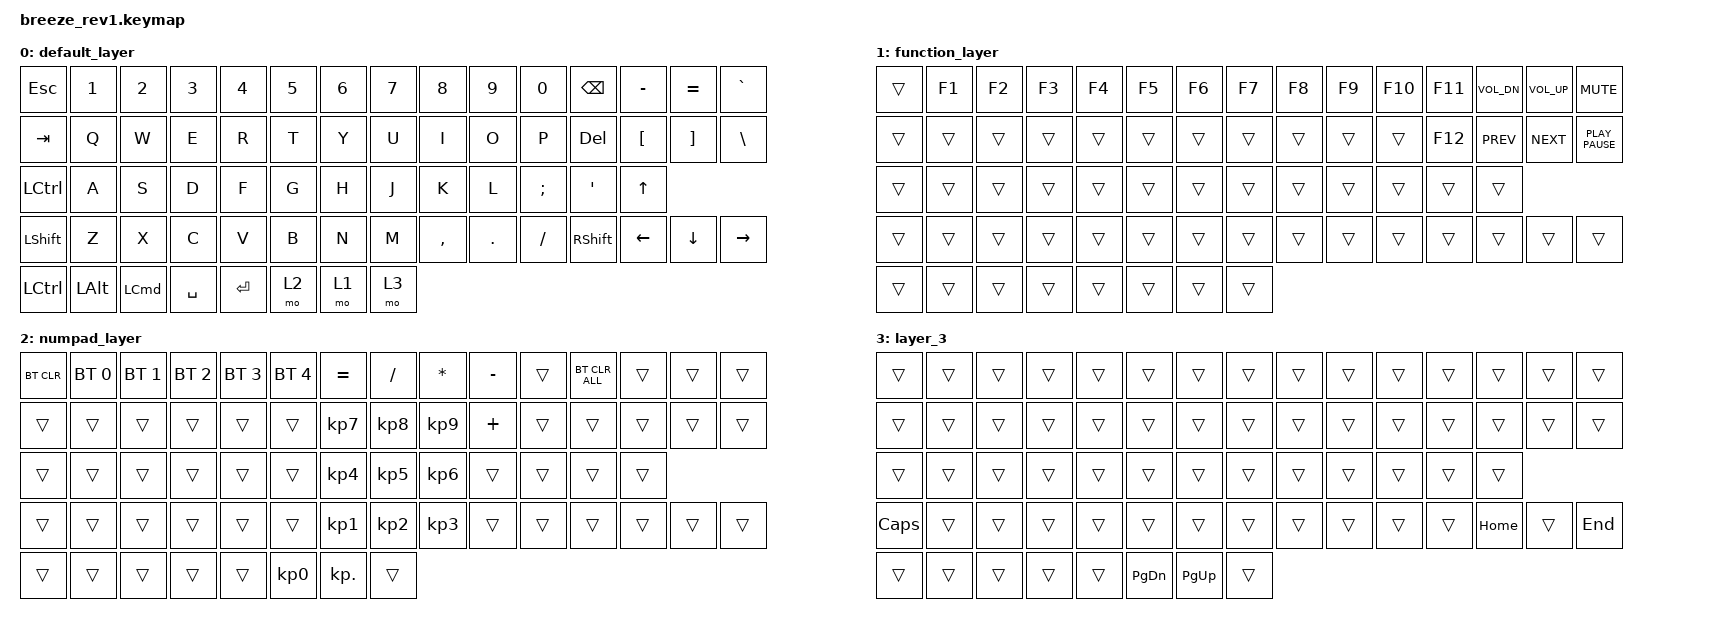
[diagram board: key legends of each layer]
/*
 * Copyright (c) 2022 The ZMK Contributors
 *
 * SPDX-License-Identifier: MIT
 */

#include <behaviors.dtsi>
#include <dt-bindings/zmk/bt.h>
#include <dt-bindings/zmk/keys.h>

/ {
    keymap {
        compatible = "zmk,keymap";

        default_layer {
            // Ref: https://zmkfirmware.dev/docs/codes/
            // ---  MAIN  -----------------------------------------------------------------------------------------------------------------------
            // |    ESC    |     1     |     2     |     3      |      4      |      5     |                           |      6      |      7     |      8      |      9     |     0    |    BSPC    | |    -/_    |     =/+     |    GRAVE    |
            // |    TAB    |     Q     |     W     |     E      |      R      |      T     |                           |      Y      |      U     |      I      |      O     |     P    |    DEL     | |     \     |      [      |      ]      |
            // |   LCTRL   |     A     |     S     |     D      |      F      |      G     |                           |      H      |      J     |      K      |      L     |     ;    |     '      | |           |      UP     |             |
            // |   SHIFT   |     Z     |     X     |     C      |      V      |      B     |                           |      N      |      M     |      ,      |      .     |     /    |   RSHIFT   | |     L     |      DN     |      R      |
            //                                     |   NUMPAD   |     LALT    |    LCMD    |   SPACE    |  |   ENTER   |   FUNCTION  |  MACOS APP |  MACOS LANG |

            bindings = <
&kp ESC    &kp N1    &kp N2    &kp N3     &kp N4   &kp N5  &kp N6  &kp N7  &kp N8     &kp N9   &kp N0    &kp BSPC    &kp MINUS         &kp EQUAL          &kp GRAVE
&kp TAB    &kp Q     &kp W     &kp E      &kp R    &kp T   &kp Y   &kp U   &kp I      &kp O    &kp P     &kp DEL     &kp LEFT_BRACKET  &kp RIGHT_BRACKET  &kp BACKSLASH
&kp LCTRL  &kp A     &kp S     &kp D      &kp F    &kp G   &kp H   &kp J   &kp K      &kp L    &kp SEMI  &kp APOS    &kp UP
&kp LSHFT  &kp Z     &kp X     &kp C      &kp V    &kp B   &kp N   &kp M   &kp COMMA  &kp DOT  &kp FSLH  &kp RSHIFT  &kp LEFT          &kp DOWN           &kp RIGHT
&kp LCTRL  &kp LALT  &kp LCMD  &kp SPACE  &kp RET  &mo 2   &mo 1   &mo 3
            >;
        };

        function_layer {
            // ---  FUNCTION  -------------------------------------------------------------------------------------------------------------------
            // | BT Clear  |  BT Prev  |  BT Next  |            |             |            |                           |             |            |             |            |          |            | |           |             |             |
            // |           |           |           |            |             |            |                           |             |            |     UP      |            |          |            | |           |             |             |
            // |           |           |           |            |             |            |                           |             |    LEFT    |    DOWN     |   RIGHT    |          |            | |           |             |             |
            // |           |           |           |            |             |            |                           |             |    MUTE    |  VOL DOWN   |   VOL UP   |          |            | |           |             |             |
            //                                     |            |             |            |            |  |           |             |            |             |

            bindings = <
&trans  &kp F1  &kp F2  &kp F3  &kp F4  &kp F5  &kp F6  &kp F7  &kp F8  &kp F9  &kp F10  &kp F11  &kp C_VOL_DN  &kp C_VOLUME_UP  &kp K_MUTE
&trans  &trans  &trans  &trans  &trans  &trans  &trans  &trans  &trans  &trans  &trans   &kp F12  &kp K_PREV    &kp K_NEXT       &kp K_PLAY_PAUSE
&trans  &trans  &trans  &trans  &trans  &trans  &trans  &trans  &trans  &trans  &trans   &trans   &trans
&trans  &trans  &trans  &trans  &trans  &trans  &trans  &trans  &trans  &trans  &trans   &trans   &trans        &trans           &trans
&trans  &trans  &trans  &trans  &trans  &trans  &trans  &trans
            >;
        };

        numpad_layer {
            // ---  NUMPAD  -------------------------------------------------------------------------------------------------------------------
            // |           |           |           |            |             |            |                           |       =       |      /       |      *       |      -     |          |            | |           |             |             |
            // |           |           |           |            |             |            |                           |       7       |      8       |      9       |      +     |          |            | |           |             |             |
            // |           |           |           |            |             |            |                           |       4       |      5       |      6       |            |          |            | |           |             |             |
            // |           |           |           |            |             |            |                           |       1       |      2       |      3       |            |          |            | |           |             |             |
            //                                     |            |             |            |            |  |           |       0       |      .       |              |

            bindings = <
&bt BT_CLR  &bt BT_SEL 0  &bt BT_SEL 1  &bt BT_SEL 2  &bt BT_SEL 3  &bt BT_SEL 4     &kp EQUAL        &kp SLASH        &kp STAR         &kp MINUS  &trans  &bt BT_CLR_ALL  &trans  &trans  &trans
&trans      &trans        &trans        &trans        &trans        &trans           &kp KP_NUMBER_7  &kp KP_NUMBER_8  &kp KP_NUMBER_9  &kp PLUS   &trans  &trans          &trans  &trans  &trans
&trans      &trans        &trans        &trans        &trans        &trans           &kp KP_NUMBER_4  &kp KP_NUMBER_5  &kp KP_NUMBER_6  &trans     &trans  &trans          &trans
&trans      &trans        &trans        &trans        &trans        &trans           &kp KP_NUMBER_1  &kp KP_NUMBER_2  &kp KP_NUMBER_3  &trans     &trans  &trans          &trans  &trans  &trans
&trans      &trans        &trans        &trans        &trans        &kp KP_NUMBER_0  &kp KP_DOT       &trans
            >;
        };

        layer_3 {
            bindings = <
&trans        &trans  &trans  &trans  &trans  &trans         &trans       &trans  &trans  &trans  &trans  &trans  &trans    &trans  &trans
&trans        &trans  &trans  &trans  &trans  &trans         &trans       &trans  &trans  &trans  &trans  &trans  &trans    &trans  &trans
&trans        &trans  &trans  &trans  &trans  &trans         &trans       &trans  &trans  &trans  &trans  &trans  &trans
&kp CAPSLOCK  &trans  &trans  &trans  &trans  &trans         &trans       &trans  &trans  &trans  &trans  &trans  &kp HOME  &trans  &kp END
&trans        &trans  &trans  &trans  &trans  &kp PAGE_DOWN  &kp PAGE_UP  &trans
            >;
        };
    };
};
